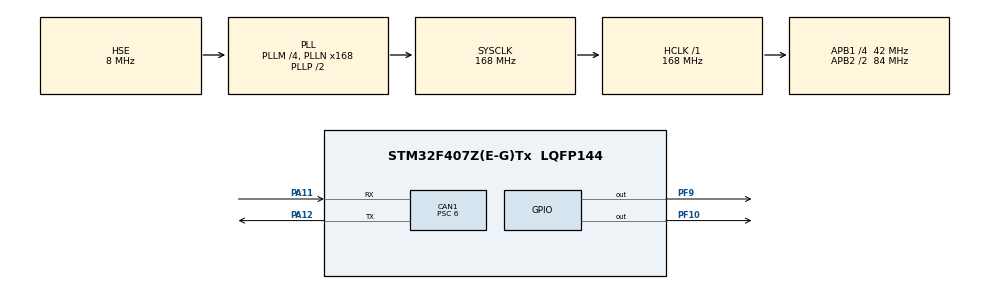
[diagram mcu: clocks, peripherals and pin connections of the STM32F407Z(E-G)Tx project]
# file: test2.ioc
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CAN1.BS1=CAN_BS1_10TQ
CAN1.BS2=CAN_BS2_3TQ
CAN1.CalculateTimeBit=2000
CAN1.CalculateTimeQuantum=142.85714285714286
CAN1.Mode=CAN_MODE_LOOPBACK
CAN1.Prescaler=6
FREERTOS.BinarySemaphores01=canDataReceive
FREERTOS.Tasks01=LEDTaggleTask,-3,128,StartLEDTaggleTask,Default,NULL,Dynamic,NULL,NULL;canReceive,2,128,StartcanReceiveTask,Default,NULL,Dynamic,NULL,NULL;canTransmiter,0,128,StartTask03,Default,NULL,Dynamic,NULL,NULL
Mcu.Family=STM32F4
Mcu.Name=STM32F407Z(E-G)Tx
Mcu.Package=LQFP144
NVIC.CAN1_RX0_IRQn=true\:5\:0\:false\:false\:true\:true
NVIC.PriorityGroup=NVIC_PRIORITYGROUP_4
NVIC.TIM1_UP_TIM10_IRQn=true\:0\:0\:false\:false\:true\:false
NVIC.TimeBase=TIM1_UP_TIM10_IRQn
NVIC.TimeBaseIP=TIM1
PA11.Mode=Master
PA11.Signal=CAN1_RX
PA12.Mode=Master
PA12.Signal=CAN1_TX
PA13.Mode=Serial_Wire
PA13.Signal=SYS_JTMS-SWDIO
PA14.Mode=Serial_Wire
PA14.Signal=SYS_JTCK-SWCLK
PC14-OSC32_IN.Mode=LSE-External-Oscillator
PC14-OSC32_IN.Signal=RCC_OSC32_IN
PC15-OSC32_OUT.Mode=LSE-External-Oscillator
PC15-OSC32_OUT.Signal=RCC_OSC32_OUT
PF10.Signal=GPIO_Output
PF9.Signal=GPIO_Output
PH0-OSC_IN.Mode=HSE-External-Oscillator
PH0-OSC_IN.Signal=RCC_OSC_IN
PH1-OSC_OUT.Mode=HSE-External-Oscillator
PH1-OSC_OUT.Signal=RCC_OSC_OUT
ProjectManager.HeapSize=0x200
ProjectManager.StackSize=0x400
ProjectManager.TargetToolchain=MDK-ARM V5
RCC.48MHZClocksFreq_Value=84000000
RCC.AHBFreq_Value=168000000
RCC.APB1CLKDivider=RCC_HCLK_DIV4
RCC.APB1Freq_Value=42000000
RCC.APB1TimFreq_Value=84000000
RCC.APB2CLKDivider=RCC_HCLK_DIV2
RCC.APB2Freq_Value=84000000
RCC.APB2TimFreq_Value=168000000
RCC.CortexFreq_Value=168000000
RCC.HCLKFreq_Value=168000000
RCC.HSE_VALUE=8000000
RCC.HSI_VALUE=16000000
RCC.PLLM=4
RCC.PLLN=168
RCC.PLLSourceVirtual=RCC_PLLSOURCE_HSE
RCC.SYSCLKFreq_VALUE=168000000
RCC.SYSCLKSource=RCC_SYSCLKSOURCE_PLLCLK
RCC.VCOOutputFreq_Value=336000000
VP_FREERTOS_VS_ENABLE.Mode=Enabled
VP_SYS_VS_tim1.Mode=TIM1
board=test2

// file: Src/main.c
/**
  ******************************************************************************
  * File Name          : main.c
  * Description        : Main program body
  ******************************************************************************
  *
  * Copyright (c) 2017 STMicroelectronics International N.V.
  * All rights reserved.
  *
  * Redistribution and use in source and binary forms, with or without
  * modification, are permitted, provided that the following conditions are met:
  *
  * 1. Redistribution of source code must retain the above copyright notice,
  *    this list of conditions and the following disclaimer.
  * 2. Redistributions in binary form must reproduce the above copyright notice,
  *    this list of conditions and the following disclaimer in the documentation
  *    and/or other materials provided with the distribution.
  * 3. Neither the name of STMicroelectronics nor the names of other
  *    contributors to this software may be used to endorse or promote products
  *    derived from this software without specific written permission.
  * 4. This software, including modifications and/or derivative works of this
  *    software, must execute solely and exclusively on microcontroller or
  *    microprocessor devices manufactured by or for STMicroelectronics.
  * 5. Redistribution and use of this software other than as permitted under
  *    this license is void and will automatically terminate your rights under
  *    this license.
  *
  * THIS SOFTWARE IS PROVIDED BY STMICROELECTRONICS AND CONTRIBUTORS "AS IS"
  * AND ANY EXPRESS, IMPLIED OR STATUTORY WARRANTIES, INCLUDING, BUT NOT
  * LIMITED TO, THE IMPLIED WARRANTIES OF MERCHANTABILITY, FITNESS FOR A
  * PARTICULAR PURPOSE AND NON-INFRINGEMENT OF THIRD PARTY INTELLECTUAL PROPERTY
  * RIGHTS ARE DISCLAIMED TO THE FULLEST EXTENT PERMITTED BY LAW. IN NO EVENT
  * SHALL STMICROELECTRONICS OR CONTRIBUTORS BE LIABLE FOR ANY DIRECT, INDIRECT,
  * INCIDENTAL, SPECIAL, EXEMPLARY, OR CONSEQUENTIAL DAMAGES (INCLUDING, BUT NOT
  * LIMITED TO, PROCUREMENT OF SUBSTITUTE GOODS OR SERVICES; LOSS OF USE, DATA,
  * OR PROFITS; OR BUSINESS INTERRUPTION) HOWEVER CAUSED AND ON ANY THEORY OF
  * LIABILITY, WHETHER IN CONTRACT, STRICT LIABILITY, OR TORT (INCLUDING
  * NEGLIGENCE OR OTHERWISE) ARISING IN ANY WAY OUT OF THE USE OF THIS SOFTWARE,
  * EVEN IF ADVISED OF THE POSSIBILITY OF SUCH DAMAGE.
  *
  ******************************************************************************
  */
#include "main.h"
#include "stm32f4xx_hal.h"
#include "cmsis_os.h"
#include "can.h"
#include "gpio.h"

/* USER CODE BEGIN PV */
/* Private variables ---------------------------------------------------------*/

/* USER CODE END PV */

void SystemClock_Config(void);
void Error_Handler(void);
void MX_FREERTOS_Init(void);

/* USER CODE BEGIN PFP */
/* Private function prototypes -----------------------------------------------*/

/* USER CODE END PFP */

int main(void)
{

  /* MCU Configuration----------------------------------------------------------*/

  /* Reset of all peripherals, Initializes the Flash interface and the Systick. */
  HAL_Init();

  /* Configure the system clock */
  SystemClock_Config();

  /* Initialize all configured peripherals */
  MX_GPIO_Init();
  MX_CAN1_Init();

  /* Call init function for freertos objects (in freertos.c) */
  MX_FREERTOS_Init();

  /* Start scheduler */
  osKernelStart();

  /* We should never get here as control is now taken by the scheduler */

  /* Infinite loop */
  while (1)
  {

  }

}

/** System Clock Configuration
*/
void SystemClock_Config(void)
{

  RCC_OscInitTypeDef RCC_OscInitStruct;
  RCC_ClkInitTypeDef RCC_ClkInitStruct;

    /**Configure the main internal regulator output voltage
    */
  __HAL_RCC_PWR_CLK_ENABLE();

  __HAL_PWR_VOLTAGESCALING_CONFIG(PWR_REGULATOR_VOLTAGE_SCALE1);

    /**Initializes the CPU, AHB and APB busses clocks
    */
  RCC_OscInitStruct.OscillatorType = RCC_OSCILLATORTYPE_HSE;
  RCC_OscInitStruct.HSEState = RCC_HSE_ON;
  RCC_OscInitStruct.PLL.PLLState = RCC_PLL_ON;
  RCC_OscInitStruct.PLL.PLLSource = RCC_PLLSOURCE_HSE;
  RCC_OscInitStruct.PLL.PLLM = 4;
  RCC_OscInitStruct.PLL.PLLN = 168;
  RCC_OscInitStruct.PLL.PLLP = RCC_PLLP_DIV2;
  RCC_OscInitStruct.PLL.PLLQ = 4;
  if (HAL_RCC_OscConfig(&RCC_OscInitStruct) != HAL_OK)
  {
    Error_Handler();
  }

    /**Initializes the CPU, AHB and APB busses clocks
    */
  RCC_ClkInitStruct.ClockType = RCC_CLOCKTYPE_HCLK|RCC_CLOCKTYPE_SYSCLK
                              |RCC_CLOCKTYPE_PCLK1|RCC_CLOCKTYPE_PCLK2;
  RCC_ClkInitStruct.SYSCLKSource = RCC_SYSCLKSOURCE_PLLCLK;
  RCC_ClkInitStruct.AHBCLKDivider = RCC_SYSCLK_DIV1;
  RCC_ClkInitStruct.APB1CLKDivider = RCC_HCLK_DIV4;
  RCC_ClkInitStruct.APB2CLKDivider = RCC_HCLK_DIV2;

  if (HAL_RCC_ClockConfig(&RCC_ClkInitStruct, FLASH_LATENCY_5) != HAL_OK)
  {
    Error_Handler();
  }

    /**Configure the Systick interrupt time
    */
  HAL_SYSTICK_Config(HAL_RCC_GetHCLKFreq()/1000);

    /**Configure the Systick
    */
  HAL_SYSTICK_CLKSourceConfig(SYSTICK_CLKSOURCE_HCLK);

  /* SysTick_IRQn interrupt configuration */
  HAL_NVIC_SetPriority(SysTick_IRQn, 15, 0);
}

void HAL_TIM_PeriodElapsedCallback(TIM_HandleTypeDef *htim)
{
  if (htim->Instance == TIM1) {
    HAL_IncTick();
  }
}

void Error_Handler(void)
{
  while(1)
  {
  }
}

/************************ (C) COPYRIGHT STMicroelectronics *****END OF FILE****/

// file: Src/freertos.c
/**
  ******************************************************************************
  * File Name          : freertos.c
  * Description        : Code for freertos applications
  ******************************************************************************
  *
  * Copyright (c) 2017 STMicroelectronics International N.V.
  * All rights reserved.
  *
  * Redistribution and use in source and binary forms, with or without
  * modification, are permitted, provided that the following conditions are met:
  *
  * 1. Redistribution of source code must retain the above copyright notice,
  *    this list of conditions and the following disclaimer.
  * 2. Redistributions in binary form must reproduce the above copyright notice,
  *    this list of conditions and the following disclaimer in the documentation
  *    and/or other materials provided with the distribution.
  * 3. Neither the name of STMicroelectronics nor the names of other
  *    contributors to this software may be used to endorse or promote products
  *    derived from this software without specific written permission.
  * 4. This software, including modifications and/or derivative works of this
  *    software, must execute solely and exclusively on microcontroller or
  *    microprocessor devices manufactured by or for STMicroelectronics.
  * 5. Redistribution and use of this software other than as permitted under
  *    this license is void and will automatically terminate your rights under
  *    this license.
  *
  * THIS SOFTWARE IS PROVIDED BY STMICROELECTRONICS AND CONTRIBUTORS "AS IS"
  * AND ANY EXPRESS, IMPLIED OR STATUTORY WARRANTIES, INCLUDING, BUT NOT
  * LIMITED TO, THE IMPLIED WARRANTIES OF MERCHANTABILITY, FITNESS FOR A
  * PARTICULAR PURPOSE AND NON-INFRINGEMENT OF THIRD PARTY INTELLECTUAL PROPERTY
  * RIGHTS ARE DISCLAIMED TO THE FULLEST EXTENT PERMITTED BY LAW. IN NO EVENT
  * SHALL STMICROELECTRONICS OR CONTRIBUTORS BE LIABLE FOR ANY DIRECT, INDIRECT,
  * INCIDENTAL, SPECIAL, EXEMPLARY, OR CONSEQUENTIAL DAMAGES (INCLUDING, BUT NOT
  * LIMITED TO, PROCUREMENT OF SUBSTITUTE GOODS OR SERVICES; LOSS OF USE, DATA,
  * OR PROFITS; OR BUSINESS INTERRUPTION) HOWEVER CAUSED AND ON ANY THEORY OF
  * LIABILITY, WHETHER IN CONTRACT, STRICT LIABILITY, OR TORT (INCLUDING
  * NEGLIGENCE OR OTHERWISE) ARISING IN ANY WAY OUT OF THE USE OF THIS SOFTWARE,
  * EVEN IF ADVISED OF THE POSSIBILITY OF SUCH DAMAGE.
  *
  ******************************************************************************
  */

#include "FreeRTOS.h"
#include "task.h"
#include "cmsis_os.h"

/* USER CODE BEGIN Includes */
#include "gpio.h"
#include "SEGGER_RTT.h"
#include "canParse.h"
/* USER CODE END Includes */

osThreadId LEDTaggleTaskHandle;
osThreadId canReceiveHandle;
osThreadId canTransmiterHandle;
osSemaphoreId canDataReceiveHandle;

/* USER CODE BEGIN Variables */
extern CAN_HandleTypeDef hcan1;
/* USER CODE END Variables */

void StartLEDTaggleTask(void const * argument);
void StartcanReceiveTask(void const * argument);
void StartTask03(void const * argument);

void MX_FREERTOS_Init(void); /* (MISRA C 2004 rule 8.1) */

/* Hook prototypes */

/* Init FreeRTOS */

void MX_FREERTOS_Init(void) {

  /* Create the semaphores(s) */
  /* definition and creation of canDataReceive */
  osSemaphoreDef(canDataReceive);
  canDataReceiveHandle = osSemaphoreCreate(osSemaphore(canDataReceive), 1);

  /* Create the thread(s) */
  /* definition and creation of LEDTaggleTask */
  osThreadDef(LEDTaggleTask, StartLEDTaggleTask, osPriorityIdle, 0, 128);
  LEDTaggleTaskHandle = osThreadCreate(osThread(LEDTaggleTask), NULL);

  /* definition and creation of canReceive */
  osThreadDef(canReceive, StartcanReceiveTask, osPriorityHigh, 0, 128);
  canReceiveHandle = osThreadCreate(osThread(canReceive), NULL);

  /* definition and creation of canTransmiter */
  osThreadDef(canTransmiter, StartTask03, osPriorityNormal, 0, 128);
  canTransmiterHandle = osThreadCreate(osThread(canTransmiter), NULL);

}

/* StartLEDTaggleTask function */
void StartLEDTaggleTask(void const * argument)
{

  /* USER CODE BEGIN StartLEDTaggleTask */
  /* Infinite loop */
  for(;;)
  {
		HAL_GPIO_TogglePin(GPIOF, GPIO_PIN_10);
    osDelay(50);
  }
  /* USER CODE END StartLEDTaggleTask */
}

/* StartcanReceiveTask function */
void StartcanReceiveTask(void const * argument)
{
  /* USER CODE BEGIN StartcanReceiveTask */

  /* Infinite loop */
  for(;;)
  {
		CanRxMsgTypeDef rx;
		osSemaphoreWait (canDataReceiveHandle,osWaitForever);
		SEGGER_RTT_printf(0,"Can receive datas \r\n");
		rx = *hcan1.pRxMsg;
		switch (rx.StdId & canMegFilter)
		{
			case canSbusIn :
				canSbusDataParse(rx);
				SEGGER_RTT_printf(0,"Sbus at %d\r\n", sBusData.channel[0]);
				SEGGER_RTT_printf(0,"Sbus at %d\r\n", sBusData.channel[1]);
				SEGGER_RTT_printf(0,"Sbus at %d\r\n", sBusData.channel[2]);
				SEGGER_RTT_printf(0,"Sbus at %d\r\n", sBusData.channel[4]);
				break;
			case canAirspeed :
				canAirSpeedParse(rx);
				break;
			default :
				SEGGER_RTT_printf(0,"rx.StdId= %d\r\n",rx.StdId);
				SEGGER_RTT_printf(0,"Can not receive datas \r\n");
				break;
		}
    osDelay(10);
  }
  /* USER CODE END StartcanReceiveTask */
}

/* StartTask03 function */
void StartTask03(void const * argument)
{
  /* USER CODE BEGIN StartTask03 */
	uint8_t temData[10] = {1,2,3,4,5,6,7,8,0,1};
  /* Infinite loop */
  for(;;)
  {
		hcan1.pTxMsg->StdId = (uint32_t)canSbusIn;
		if( (txDataSend(&hcan1, canSbusIn, sizeof(temData), temData)) != HAL_OK)
				SEGGER_RTT_printf(0,"canSendError\r\n");
		HAL_GPIO_TogglePin(GPIOF, GPIO_PIN_9);
		temData[9]++;
    osDelay(50);
  }
  /* USER CODE END StartTask03 */
}

/* USER CODE BEGIN Application */
 void HAL_CAN_RxCpltCallback(CAN_HandleTypeDef* hcan)
 {
	__HAL_CAN_ENABLE_IT(&hcan1, CAN_IT_FMP0);
 }
/* USER CODE END Application */

/************************ (C) COPYRIGHT STMicroelectronics *****END OF FILE****/
